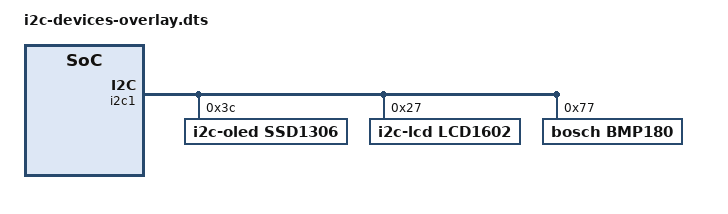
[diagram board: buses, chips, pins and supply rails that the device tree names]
/dts-v1/;
/plugin/;

&i2c1 {
    #address-cells = <1>;
    #size-cells = <0>;
    
    ssd1306@3c {
        compatible = "i2c-oled,ssd1306";
        reg = <0x3c>;
        status = "okay";
    };

    lcd1602@27 {
        compatible = "i2c-lcd,lcd1602";
        reg = <0x27>;
        status = "okay";
    };

    bmp180@77 {
        compatible = "bosch,bmp180";
        reg = <0x77>;
        status = "okay";
    };

};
